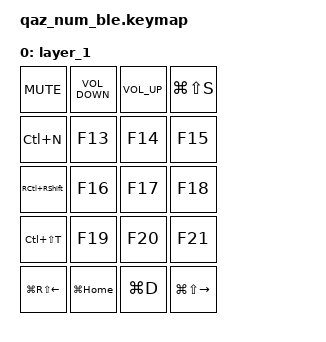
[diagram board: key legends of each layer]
#include <behaviors.dtsi>
#include <dt-bindings/zmk/keys.h>

/ {
    macros {
        Volume_Mute: Volume_Mute {
            compatible = "zmk,behavior-macro";
            #binding-cells = <0>;
            bindings = <&kp C_AC_NEXT_KEYBOARD_LAYOUT_SELECT &kp F1>;
            label = "VOLUME_MUTE";
        };

        Volume_Down: Volume_down {
            compatible = "zmk,behavior-macro";
            #binding-cells = <0>;
            bindings = <&kp C_AC_NEXT_KEYBOARD_LAYOUT_SELECT &kp F2>;
            label = "VOLUME_DOWN";
        };

        Volume_Up: Volume_up {
            compatible = "zmk,behavior-macro";
            #binding-cells = <0>;
            bindings = <&kp C_AC_NEXT_KEYBOARD_LAYOUT_SELECT &kp F3>;
            label = "VOLUME_UP";
        };
    };

    keymap {
        compatible = "zmk,keymap";

        layer_1 {
            bindings = <
&kp C_MUTE           &kp C_VOLUME_DOWN  &kp C_VOLUME_UP  &kp LG(LS(S))
&kp LC(N)            &kp F13            &kp F14          &kp F15
&kp RC(RIGHT_SHIFT)  &kp F16            &kp F17          &kp F18
&kp LC(LS(T))        &kp F19            &kp F20          &kp F21
&kp LG(RS(LEFT))     &kp LG(HOME)       &kp LG(D)        &kp LG(LS(RIGHT))
            >;
        };
    };
};
